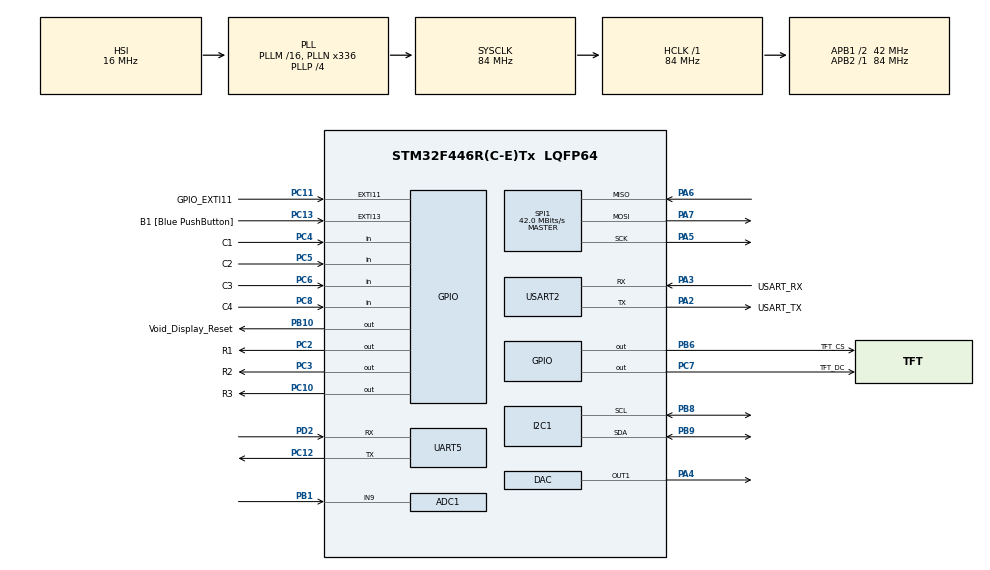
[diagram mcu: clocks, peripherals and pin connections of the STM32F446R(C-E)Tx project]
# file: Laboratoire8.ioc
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ADC1.Channel-1\#ChannelRegularConversion=ADC_CHANNEL_9
ADC1.DMAContinuousRequests=ENABLE
ADC1.ExternalTrigConv=ADC_EXTERNALTRIGCONV_T2_TRGO
ADC1.NbrOfConversionFlag=1
ADC1.Rank-1\#ChannelRegularConversion=1
ADC1.SamplingTime-1\#ChannelRegularConversion=ADC_SAMPLETIME_3CYCLES
ADC1.master=1
DAC.DAC_Trigger=DAC_TRIGGER_T2_TRGO
Dma.ADC1.1.Direction=DMA_PERIPH_TO_MEMORY
Dma.ADC1.1.FIFOMode=DMA_FIFOMODE_DISABLE
Dma.ADC1.1.Instance=DMA2_Stream0
Dma.ADC1.1.MemDataAlignment=DMA_MDATAALIGN_WORD
Dma.ADC1.1.MemInc=DMA_MINC_ENABLE
Dma.ADC1.1.Mode=DMA_CIRCULAR
Dma.ADC1.1.PeriphDataAlignment=DMA_PDATAALIGN_WORD
Dma.ADC1.1.PeriphInc=DMA_PINC_DISABLE
Dma.ADC1.1.Priority=DMA_PRIORITY_HIGH
Dma.DAC1.2.Direction=DMA_MEMORY_TO_PERIPH
Dma.DAC1.2.FIFOMode=DMA_FIFOMODE_DISABLE
Dma.DAC1.2.Instance=DMA1_Stream5
Dma.DAC1.2.MemDataAlignment=DMA_MDATAALIGN_WORD
Dma.DAC1.2.MemInc=DMA_MINC_ENABLE
Dma.DAC1.2.Mode=DMA_CIRCULAR
Dma.DAC1.2.PeriphDataAlignment=DMA_PDATAALIGN_WORD
Dma.DAC1.2.PeriphInc=DMA_PINC_DISABLE
Dma.DAC1.2.Priority=DMA_PRIORITY_HIGH
Dma.I2C1_RX.3.Direction=DMA_PERIPH_TO_MEMORY
Dma.I2C1_RX.3.FIFOMode=DMA_FIFOMODE_DISABLE
Dma.I2C1_RX.3.Instance=DMA1_Stream0
Dma.I2C1_RX.3.MemDataAlignment=DMA_MDATAALIGN_BYTE
Dma.I2C1_RX.3.MemInc=DMA_MINC_ENABLE
Dma.I2C1_RX.3.Mode=DMA_NORMAL
Dma.I2C1_RX.3.PeriphDataAlignment=DMA_PDATAALIGN_BYTE
Dma.I2C1_RX.3.PeriphInc=DMA_PINC_DISABLE
Dma.I2C1_RX.3.Priority=DMA_PRIORITY_HIGH
Dma.I2C1_TX.4.Direction=DMA_MEMORY_TO_PERIPH
Dma.I2C1_TX.4.FIFOMode=DMA_FIFOMODE_DISABLE
Dma.I2C1_TX.4.Instance=DMA1_Stream6
Dma.I2C1_TX.4.MemDataAlignment=DMA_MDATAALIGN_BYTE
Dma.I2C1_TX.4.MemInc=DMA_MINC_ENABLE
Dma.I2C1_TX.4.Mode=DMA_NORMAL
Dma.I2C1_TX.4.PeriphDataAlignment=DMA_PDATAALIGN_BYTE
Dma.I2C1_TX.4.PeriphInc=DMA_PINC_DISABLE
Dma.I2C1_TX.4.Priority=DMA_PRIORITY_HIGH
Dma.Request0=SPI1_TX
Dma.Request1=ADC1
Dma.Request2=DAC1
Dma.Request3=I2C1_RX
Dma.Request4=I2C1_TX
Dma.Request5=UART5_TX
Dma.SPI1_TX.0.Direction=DMA_MEMORY_TO_PERIPH
Dma.SPI1_TX.0.FIFOMode=DMA_FIFOMODE_DISABLE
Dma.SPI1_TX.0.Instance=DMA2_Stream3
Dma.SPI1_TX.0.MemDataAlignment=DMA_MDATAALIGN_BYTE
Dma.SPI1_TX.0.MemInc=DMA_MINC_ENABLE
Dma.SPI1_TX.0.Mode=DMA_NORMAL
Dma.SPI1_TX.0.PeriphDataAlignment=DMA_PDATAALIGN_BYTE
Dma.SPI1_TX.0.PeriphInc=DMA_PINC_DISABLE
Dma.SPI1_TX.0.Priority=DMA_PRIORITY_LOW
Dma.UART5_TX.5.Direction=DMA_MEMORY_TO_PERIPH
Dma.UART5_TX.5.FIFOMode=DMA_FIFOMODE_DISABLE
Dma.UART5_TX.5.Instance=DMA1_Stream7
Dma.UART5_TX.5.MemDataAlignment=DMA_MDATAALIGN_BYTE
Dma.UART5_TX.5.MemInc=DMA_MINC_ENABLE
Dma.UART5_TX.5.Mode=DMA_NORMAL
Dma.UART5_TX.5.PeriphDataAlignment=DMA_PDATAALIGN_BYTE
Dma.UART5_TX.5.PeriphInc=DMA_PINC_DISABLE
Dma.UART5_TX.5.Priority=DMA_PRIORITY_LOW
I2C1.I2C_Mode=I2C_Fast
Mcu.Family=STM32F4
Mcu.Name=STM32F446R(C-E)Tx
Mcu.Package=LQFP64
NVIC.DMA1_Stream0_IRQn=true\:0\:0\:false\:false\:true\:false\:true\:true
NVIC.DMA1_Stream5_IRQn=true\:0\:0\:false\:false\:true\:false\:true\:true
NVIC.DMA1_Stream6_IRQn=true\:0\:0\:false\:false\:true\:false\:true\:true
NVIC.DMA1_Stream7_IRQn=true\:0\:0\:false\:false\:true\:false\:true\:true
NVIC.DMA2_Stream0_IRQn=true\:0\:0\:false\:false\:true\:false\:true\:true
NVIC.DMA2_Stream3_IRQn=true\:0\:0\:false\:false\:true\:false\:true\:true
NVIC.EXTI15_10_IRQn=true\:0\:0\:false\:false\:true\:true\:true\:true
NVIC.I2C1_ER_IRQn=true\:0\:0\:false\:false\:true\:true\:true\:true
NVIC.I2C1_EV_IRQn=true\:0\:0\:false\:false\:true\:true\:true\:true
NVIC.PriorityGroup=NVIC_PRIORITYGROUP_0
NVIC.SPI1_IRQn=true\:0\:0\:false\:false\:true\:true\:true\:true
NVIC.UART5_IRQn=true\:0\:0\:false\:false\:true\:true\:true\:true
PA13.GPIO_Label=TMS
PA13.Mode=Serial_Wire
PA13.Signal=SYS_JTMS-SWDIO
PA14.GPIO_Label=TCK
PA14.Mode=Serial_Wire
PA14.Signal=SYS_JTCK-SWCLK
PA2.GPIO_Label=USART_TX
PA2.Mode=Asynchronous
PA2.Signal=USART2_TX
PA3.GPIO_Label=USART_RX
PA3.Mode=Asynchronous
PA3.Signal=USART2_RX
PA4.Signal=COMP_DAC1_group
PA5.Mode=Full_Duplex_Master
PA5.Signal=SPI1_SCK
PA6.Mode=Full_Duplex_Master
PA6.Signal=SPI1_MISO
PA7.Mode=Full_Duplex_Master
PA7.Signal=SPI1_MOSI
PB1.Signal=ADCx_IN9
PB10.GPIO_Label=Void_Display_Reset
PB10.Signal=GPIO_Output
PB3.GPIO_Label=SWO
PB3.Signal=SYS_JTDO-SWO
PB6.GPIO_Label=TFT_CS
PB6.Signal=GPIO_Output
PB8.Mode=I2C
PB8.Signal=I2C1_SCL
PB9.Mode=I2C
PB9.Signal=I2C1_SDA
PC10.GPIO_Label=R3
PC10.GPIO_ModeDefaultOutputPP=GPIO_MODE_OUTPUT_OD
PC10.GPIO_PuPd=GPIO_NOPULL
PC10.Signal=GPIO_Output
PC11.GPIO_Label=GPIO_EXTI11
PC11.Signal=GPXTI11
PC12.Mode=Asynchronous
PC12.Signal=UART5_TX
PC13.GPIO_Label=B1 [Blue PushButton]
PC13.GPIO_ModeDefaultEXTI=GPIO_MODE_IT_FALLING
PC13.Signal=GPXTI13
PC14-OSC32_IN.Mode=LSE-External-Oscillator
PC14-OSC32_IN.Signal=RCC_OSC32_IN
PC15-OSC32_OUT.Mode=LSE-External-Oscillator
PC15-OSC32_OUT.Signal=RCC_OSC32_OUT
PC2.GPIO_Label=R1
PC2.GPIO_ModeDefaultOutputPP=GPIO_MODE_OUTPUT_OD
PC2.GPIO_PuPd=GPIO_NOPULL
PC2.Signal=GPIO_Output
PC3.GPIO_Label=R2
PC3.GPIO_ModeDefaultOutputPP=GPIO_MODE_OUTPUT_OD
PC3.GPIO_PuPd=GPIO_NOPULL
PC3.Signal=GPIO_Output
PC4.GPIO_Label=C1
PC4.GPIO_PuPd=GPIO_PULLUP
PC4.Signal=GPIO_Input
PC5.GPIO_Label=C2
PC5.GPIO_PuPd=GPIO_PULLUP
PC5.Signal=GPIO_Input
PC6.GPIO_Label=C3
PC6.GPIO_PuPd=GPIO_PULLUP
PC6.Signal=GPIO_Input
PC7.GPIO_Label=TFT_DC
PC7.Signal=GPIO_Output
PC8.GPIO_Label=C4
PC8.GPIO_PuPd=GPIO_PULLUP
PC8.Signal=GPIO_Input
PD2.Mode=Asynchronous
PD2.Signal=UART5_RX
PH0-OSC_IN.Mode=HSE-External-Oscillator
PH0-OSC_IN.Signal=RCC_OSC_IN
PH1-OSC_OUT.Mode=HSE-External-Oscillator
PH1-OSC_OUT.Signal=RCC_OSC_OUT
ProjectManager.HeapSize=0x200
ProjectManager.StackSize=0x400
ProjectManager.TargetToolchain=MDK-ARM V5.32
RCC.48MHZClocksFreq_Value=84000000
RCC.AHBFreq_Value=84000000
RCC.APB1CLKDivider=RCC_HCLK_DIV2
RCC.APB1Freq_Value=42000000
RCC.APB1TimFreq_Value=84000000
RCC.APB2Freq_Value=84000000
RCC.APB2TimFreq_Value=84000000
RCC.CortexFreq_Value=84000000
RCC.FLatency-AdvancedSettings=FLASH_LATENCY_2
RCC.HCLKFreq_Value=84000000
RCC.HSE_VALUE=8000000
RCC.HSI_VALUE=16000000
RCC.PLLN=336
RCC.PLLP=RCC_PLLP_DIV4
RCC.SYSCLKFreq_VALUE=84000000
RCC.SYSCLKSource=RCC_SYSCLKSOURCE_PLLCLK
RCC.USBFreq_Value=168000000
RCC.VCOOutputFreq_Value=336000000
SH.ADCx_IN9.0=ADC1_IN9,IN9
SH.COMP_DAC1_group.0=DAC_OUT1,DAC_OUT1
SPI1.CalculateBaudRate=42.0 MBits/s
SPI1.Direction=SPI_DIRECTION_2LINES
SPI1.Mode=SPI_MODE_MASTER
SPI1.VirtualType=VM_MASTER
TIM2.Period=24
TIM2.Prescaler=83
TIM2.TIM_MasterOutputTrigger=TIM_TRGO_UPDATE
UART5.VirtualMode=Asynchronous
USART2.VirtualMode=VM_ASYNC
VP_TIM2_VS_ClockSourceINT.Mode=Internal
board=NUCLEO-F446RE

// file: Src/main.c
/* USER CODE BEGIN Header */
/**
  ******************************************************************************
  * @file           : main.c
  * @brief          : Main program body
  ******************************************************************************
  * @attention
  *
  * Copyright (c) 2024 STMicroelectronics.
  * All rights reserved.
  *
  * This software is licensed under terms that can be found in the LICENSE file
  * in the root directory of this software component.
  * If no LICENSE file comes with this software, it is provided AS-IS.
  *
  ******************************************************************************
  */

/* USER CODE END Header */
#include "main.h"
#include "adc.h"
#include "dac.h"
#include "dma.h"
#include "i2c.h"
#include "spi.h"
#include "tim.h"
#include "usart.h"
#include "gpio.h"

/* USER CODE BEGIN Includes */
#include "stdio.h"
#include "math.h"

#include "ili9341.h"
#include "ili9341_gfx.h"
/* USER CODE END Includes */

/* USER CODE BEGIN PD */

#define UART_BUFFER_SIZE 4

/* USER CODE END PD */

/* USER CODE BEGIN PV */
ili9341_t *_screen;

uint8_t RxData_temp;
volatile int state =0;
int RxData_i = 0;
char RxData[UART_BUFFER_SIZE];

union TxDataUnion {
    struct {
        char FFByte, sizeByte, xpos, ypos, etcVar;
    } TxDataStruct;
    char TxDataArray[UART_BUFFER_SIZE];
} TxData;

/* USER CODE END PV */

void SystemClock_Config(void);

int main(void)
{

  /* MCU Configuration--------------------------------------------------------*/

  /* Reset of all peripherals, Initializes the Flash interface and the Systick. */
  HAL_Init();

  /* Configure the system clock */
  SystemClock_Config();

  /* Initialize all configured peripherals */
  MX_GPIO_Init();
  MX_DMA_Init();
  MX_USART2_UART_Init();
  MX_SPI1_Init();
  MX_ADC1_Init();
  MX_TIM2_Init();
  MX_DAC_Init();
  MX_I2C1_Init();
  MX_UART5_Init();
  /* USER CODE BEGIN 2 */
	_screen = ili9341_new(
		&hspi1,
		Void_Display_Reset_GPIO_Port, Void_Display_Reset_Pin,
		TFT_CS_GPIO_Port, TFT_CS_Pin,
		TFT_DC_GPIO_Port, TFT_DC_Pin,
		isoLandscape,
		NULL, NULL,
		NULL, NULL,
		itsNotSupported,
		itnNormalized);

	ili9341_fill_screen(_screen, ILI9341_BLACK);
	ili9341_text_attr_t text_attr = {&ili9341_font_11x18, ILI9341_WHITE, ILI9341_BLACK,0,0};

	HAL_TIM_Base_Start(&htim2);

	TxData.TxDataStruct.FFByte = 0xFF;
	TxData.TxDataStruct.sizeByte = UART_BUFFER_SIZE;
	HAL_UART_Transmit_DMA(&huart5, TxData.TxDataArray, UART_BUFFER_SIZE);
	HAL_UART_Receive_IT(&huart5, &RxData_temp, 1);
  /* USER CODE END 2 */

  /* Infinite loop */
  while (1)
  {

    /* USER CODE BEGIN 3 */
		printf("%i\r\n", RxData[0]);
		printf("%i\r\b\r", (char) HAL_GetTick());
		HAL_Delay(200);
  }
  /* USER CODE END 3 */
}

void SystemClock_Config(void)
{
  RCC_OscInitTypeDef RCC_OscInitStruct = {0};
  RCC_ClkInitTypeDef RCC_ClkInitStruct = {0};

  /** Configure the main internal regulator output voltage
  */
  __HAL_RCC_PWR_CLK_ENABLE();
  __HAL_PWR_VOLTAGESCALING_CONFIG(PWR_REGULATOR_VOLTAGE_SCALE3);

  /** Initializes the RCC Oscillators according to the specified parameters
  * in the RCC_OscInitTypeDef structure.
  */
  RCC_OscInitStruct.OscillatorType = RCC_OSCILLATORTYPE_HSI;
  RCC_OscInitStruct.HSIState = RCC_HSI_ON;
  RCC_OscInitStruct.HSICalibrationValue = RCC_HSICALIBRATION_DEFAULT;
  RCC_OscInitStruct.PLL.PLLState = RCC_PLL_ON;
  RCC_OscInitStruct.PLL.PLLSource = RCC_PLLSOURCE_HSI;
  RCC_OscInitStruct.PLL.PLLM = 16;
  RCC_OscInitStruct.PLL.PLLN = 336;
  RCC_OscInitStruct.PLL.PLLP = RCC_PLLP_DIV4;
  RCC_OscInitStruct.PLL.PLLQ = 2;
  RCC_OscInitStruct.PLL.PLLR = 2;
  if (HAL_RCC_OscConfig(&RCC_OscInitStruct) != HAL_OK)
  {
    Error_Handler();
  }

  /** Initializes the CPU, AHB and APB buses clocks
  */
  RCC_ClkInitStruct.ClockType = RCC_CLOCKTYPE_HCLK|RCC_CLOCKTYPE_SYSCLK
                              |RCC_CLOCKTYPE_PCLK1|RCC_CLOCKTYPE_PCLK2;
  RCC_ClkInitStruct.SYSCLKSource = RCC_SYSCLKSOURCE_PLLCLK;
  RCC_ClkInitStruct.AHBCLKDivider = RCC_SYSCLK_DIV1;
  RCC_ClkInitStruct.APB1CLKDivider = RCC_HCLK_DIV2;
  RCC_ClkInitStruct.APB2CLKDivider = RCC_HCLK_DIV1;

  if (HAL_RCC_ClockConfig(&RCC_ClkInitStruct, FLASH_LATENCY_2) != HAL_OK)
  {
    Error_Handler();
  }
}

/* USER CODE BEGIN 4 */
int fputc(int ch, FILE *f)
{
 /* Place your implementation of fputc here */
 /* e.g. write a character to the USART2 and Loop until the end of transmission */
	HAL_UART_Transmit(&huart2, (uint8_t *)&ch, 1, 0xFFFF);
	return ch;
}

void HAL_UART_RxCpltCallback(UART_HandleTypeDef *huart){

	if (huart == &huart5){
		if (state == 0){
			if (RxData_temp == 0xFF) state = 1;
		}
		else if (state ==1){
			if (RxData_temp <= UART_BUFFER_SIZE) state = 2;
			else state = 0;
		}
		else {
			RxData[RxData_i] = RxData_temp;
			RxData_i++;
			if (RxData_i>=UART_BUFFER_SIZE){
				RxData_i = 0;
				state = 0;
			}
		}
		HAL_UART_Receive_IT(&huart5, &RxData_temp, 1);
	}
}

void HAL_UART_TxCpltCallback(UART_HandleTypeDef *huart)
{
	if (huart == &huart5){
		TxData.TxDataStruct.xpos = HAL_GetTick();
		HAL_UART_Transmit_DMA(&huart5, TxData.TxDataArray, UART_BUFFER_SIZE);
	}
}

/* USER CODE END 4 */

void Error_Handler(void)
{
  __disable_irq();
  while (1)
  {
  }
}
